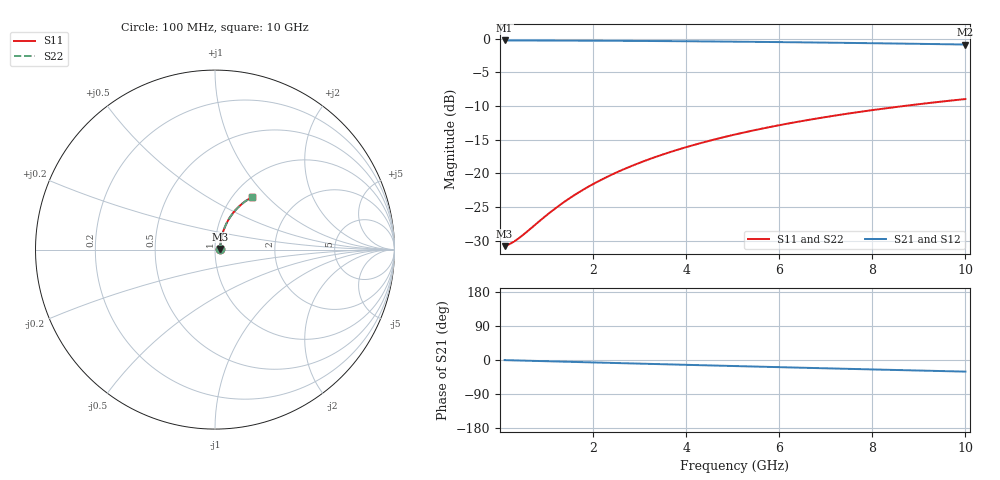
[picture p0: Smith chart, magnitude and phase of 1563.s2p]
# Hz S RI R 50.00
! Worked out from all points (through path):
!   100 points, 100 MHz to 10 GHz, reference 50 ohm
!   highest |S21| = -0.25 dB at 100 MHz (marker M1); lowest = -0.9 dB at 10 GHz (marker M2)
!   group delay of S21, straight-line fit = 8.53 ps
!   lowest |S11| = -30.8 dB at 100 MHz (marker M3), VSWR 1.06, Z = 52.9 + j0.398 ohm
!   |S11| at or under -10 dB: start of sweep to 8.664 GHz
!   |S22| runs from -30.8 to -9.0 dB; largest |S21 - S12| = 0
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1e8  0.0286 0.00375  0.9714 -0.00544  0.9714 -0.00544  0.0286 0.00375
2e8  0.0288 0.0075  0.9711 -0.0109  0.9711 -0.0109  0.0288 0.0075
3e8  0.0291 0.0112  0.9709 -0.0163  0.9709 -0.0163  0.0291 0.0112
4e8  0.0293 0.015  0.9706 -0.0217  0.9706 -0.0217  0.0293 0.015
1e9  0.0315 0.0374  0.9683 -0.0542  0.9683 -0.0542  0.0315 0.0374
1.2e9  0.0326 0.0448  0.9672 -0.065  0.9672 -0.065  0.0326 0.0448
1.5e9  0.0344 0.0558  0.9653 -0.0811  0.9653 -0.0811  0.0344 0.0558
1.8e9  0.0366 0.0668  0.9629 -0.0972  0.9629 -0.0972  0.0366 0.0668
2.1e9  0.0391 0.0777  0.9603 -0.1131  0.9603 -0.1131  0.0391 0.0777
2.5e9  0.043 0.092  0.9561 -0.1342  0.9561 -0.1342  0.043 0.092
2.9e9  0.0475 0.1061  0.9512 -0.1551  0.9512 -0.1551  0.0475 0.1061
3.4e9  0.054 0.1234  0.9443 -0.1808  0.9443 -0.1808  0.054 0.1234
3.8e9  0.0598 0.1368  0.938 -0.201  0.938 -0.201  0.0598 0.1368
4.2e9  0.0662 0.15  0.9312 -0.2209  0.9312 -0.2209  0.0662 0.15
4.6e9  0.0731 0.1628  0.9237 -0.2405  0.9237 -0.2405  0.0731 0.1628
5.1e9  0.0825 0.1782  0.9137 -0.2644  0.9137 -0.2644  0.0825 0.1782
5.9e9  0.099 0.2016  0.8959 -0.3014  0.8959 -0.3014  0.099 0.2016
6.7e9  0.1172 0.2232  0.8762 -0.3367  0.8762 -0.3367  0.1172 0.2232
7.5e9  0.1369 0.243  0.8548 -0.3701  0.8548 -0.3701  0.1369 0.243
8.4e9  0.1605 0.2628  0.829 -0.4053  0.829 -0.4053  0.1605 0.2628
9.2e9  0.1826 0.2783  0.8049 -0.4345  0.8049 -0.4345  0.1826 0.2783
1e10  0.2054 0.2917  0.7797 -0.4617  0.7797 -0.4617  0.2054 0.2917
